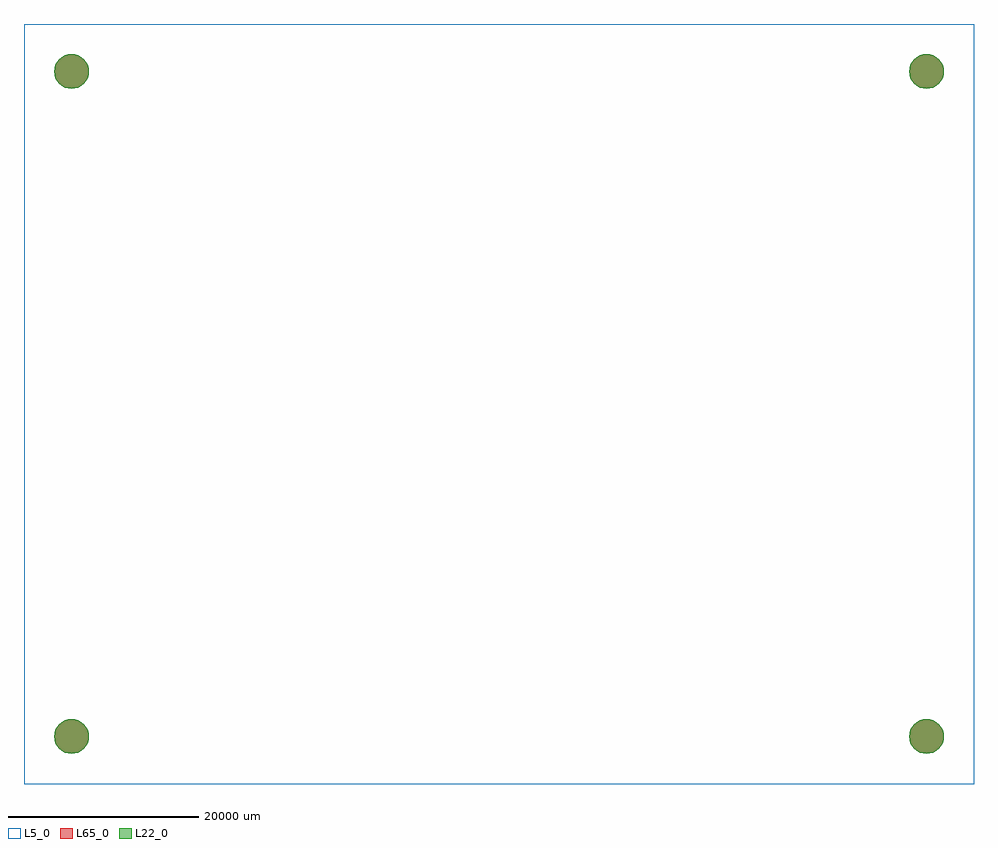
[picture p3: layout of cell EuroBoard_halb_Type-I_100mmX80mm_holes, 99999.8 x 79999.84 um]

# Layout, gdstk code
import gdstk
lib = gdstk.Library(unit=1e-6, precision=1e-09)
def R(c, l, rs):  # rectangles x0, y0, x1, y1
    for r in rs: c.add(gdstk.rectangle(r[:2], r[2:], *l))
def P(c, l, *ps):  # polygons
    for p in ps: c.add(gdstk.Polygon(p, *l))
L5_0 = (5, 0)
L22_0 = (22, 0)
L65_0 = (65, 0)

euroboard_halb_type_i_10 = lib.new_cell('EuroBoard_halb_Type-I_100mmX80mm_holes')
R(euroboard_halb_type_i_10, L5_0, [(0,0,99999.8,79999.84)])
P(euroboard_halb_type_i_10, L22_0, [(96826.14,5001.26),(96791.072,5357.312),(96687.216,5699.68),(96518.562,6015.209),(96291.592,6291.772),(96015.029,6518.742),(95699.5,6687.396),(95357.132,6791.252),(95001.08,6826.32),(94645.028,6791.252),(94302.66,6687.396),(93987.131,6518.742),(93710.568,6291.772),(93483.598,6015.209),(93314.944,5699.68),(93211.088,5357.312),(93176.02,5001.26),(93211.088,4645.208),(93314.944,4302.84),(93483.598,3987.311),(93710.568,3710.748),(93987.131,3483.778),(94302.66,3315.124),(94645.028,3211.268),(95001.08,3176.2),(95357.132,3211.268),(95699.5,3315.124),(96015.029,3483.778),(96291.592,3710.748),(96518.562,3987.311),(96687.216,4302.84),(96791.072,4645.208)],
  [(96826.14,75001.12),(96791.072,75357.172),(96687.216,75699.54),(96518.562,76015.069),(96291.592,76291.632),(96015.029,76518.602),(95699.5,76687.256),(95357.132,76791.112),(95001.08,76826.18),(94645.028,76791.112),(94302.66,76687.256),(93987.131,76518.602),(93710.568,76291.632),(93483.598,76015.069),(93314.944,75699.54),(93211.088,75357.172),(93176.02,75001.12),(93211.088,74645.068),(93314.944,74302.7),(93483.598,73987.171),(93710.568,73710.608),(93987.131,73483.638),(94302.66,73314.984),(94645.028,73211.128),(95001.08,73176.06),(95357.132,73211.128),(95699.5,73314.984),(96015.029,73483.638),(96291.592,73710.608),(96518.562,73987.171),(96687.216,74302.7),(96791.072,74645.068)],
  [(6826.32,75001.12),(6791.252,75357.172),(6687.396,75699.54),(6518.742,76015.069),(6291.772,76291.632),(6015.209,76518.602),(5699.68,76687.256),(5357.312,76791.112),(5001.26,76826.18),(4645.208,76791.112),(4302.84,76687.256),(3987.311,76518.602),(3710.748,76291.632),(3483.778,76015.069),(3315.124,75699.54),(3211.268,75357.172),(3176.2,75001.12),(3211.268,74645.068),(3315.124,74302.7),(3483.778,73987.171),(3710.748,73710.608),(3987.311,73483.638),(4302.84,73314.984),(4645.208,73211.128),(5001.26,73176.06),(5357.312,73211.128),(5699.68,73314.984),(6015.209,73483.638),(6291.772,73710.608),(6518.742,73987.171),(6687.396,74302.7),(6791.252,74645.068)],
  [(6826.32,5001.26),(6791.252,5357.312),(6687.396,5699.68),(6518.742,6015.209),(6291.772,6291.772),(6015.209,6518.742),(5699.68,6687.396),(5357.312,6791.252),(5001.26,6826.32),(4645.208,6791.252),(4302.84,6687.396),(3987.311,6518.742),(3710.748,6291.772),(3483.778,6015.209),(3315.124,5699.68),(3211.268,5357.312),(3176.2,5001.26),(3211.268,4645.208),(3315.124,4302.84),(3483.778,3987.311),(3710.748,3710.748),(3987.311,3483.778),(4302.84,3315.124),(4645.208,3211.268),(5001.26,3176.2),(5357.312,3211.268),(5699.68,3315.124),(6015.209,3483.778),(6291.772,3710.748),(6518.742,3987.311),(6687.396,4302.84),(6791.252,4645.208)])
P(euroboard_halb_type_i_10, L65_0, [(96826.14,5001.26),(96791.072,5357.312),(96687.216,5699.68),(96518.562,6015.209),(96291.592,6291.772),(96015.029,6518.742),(95699.5,6687.396),(95357.132,6791.252),(95001.08,6826.32),(94645.028,6791.252),(94302.66,6687.396),(93987.131,6518.742),(93710.568,6291.772),(93483.598,6015.209),(93314.944,5699.68),(93211.088,5357.312),(93176.02,5001.26),(93211.088,4645.208),(93314.944,4302.84),(93483.598,3987.311),(93710.568,3710.748),(93987.131,3483.778),(94302.66,3315.124),(94645.028,3211.268),(95001.08,3176.2),(95357.132,3211.268),(95699.5,3315.124),(96015.029,3483.778),(96291.592,3710.748),(96518.562,3987.311),(96687.216,4302.84),(96791.072,4645.208)],
  [(96826.14,75001.12),(96791.072,75357.172),(96687.216,75699.54),(96518.562,76015.069),(96291.592,76291.632),(96015.029,76518.602),(95699.5,76687.256),(95357.132,76791.112),(95001.08,76826.18),(94645.028,76791.112),(94302.66,76687.256),(93987.131,76518.602),(93710.568,76291.632),(93483.598,76015.069),(93314.944,75699.54),(93211.088,75357.172),(93176.02,75001.12),(93211.088,74645.068),(93314.944,74302.7),(93483.598,73987.171),(93710.568,73710.608),(93987.131,73483.638),(94302.66,73314.984),(94645.028,73211.128),(95001.08,73176.06),(95357.132,73211.128),(95699.5,73314.984),(96015.029,73483.638),(96291.592,73710.608),(96518.562,73987.171),(96687.216,74302.7),(96791.072,74645.068)],
  [(6826.32,75001.12),(6791.252,75357.172),(6687.396,75699.54),(6518.742,76015.069),(6291.772,76291.632),(6015.209,76518.602),(5699.68,76687.256),(5357.312,76791.112),(5001.26,76826.18),(4645.208,76791.112),(4302.84,76687.256),(3987.311,76518.602),(3710.748,76291.632),(3483.778,76015.069),(3315.124,75699.54),(3211.268,75357.172),(3176.2,75001.12),(3211.268,74645.068),(3315.124,74302.7),(3483.778,73987.171),(3710.748,73710.608),(3987.311,73483.638),(4302.84,73314.984),(4645.208,73211.128),(5001.26,73176.06),(5357.312,73211.128),(5699.68,73314.984),(6015.209,73483.638),(6291.772,73710.608),(6518.742,73987.171),(6687.396,74302.7),(6791.252,74645.068)],
  [(6826.32,5001.26),(6791.252,5357.312),(6687.396,5699.68),(6518.742,6015.209),(6291.772,6291.772),(6015.209,6518.742),(5699.68,6687.396),(5357.312,6791.252),(5001.26,6826.32),(4645.208,6791.252),(4302.84,6687.396),(3987.311,6518.742),(3710.748,6291.772),(3483.778,6015.209),(3315.124,5699.68),(3211.268,5357.312),(3176.2,5001.26),(3211.268,4645.208),(3315.124,4302.84),(3483.778,3987.311),(3710.748,3710.748),(3987.311,3483.778),(4302.84,3315.124),(4645.208,3211.268),(5001.26,3176.2),(5357.312,3211.268),(5699.68,3315.124),(6015.209,3483.778),(6291.772,3710.748),(6518.742,3987.311),(6687.396,4302.84),(6791.252,4645.208)])
euroboard_halb_type_i_10.add(gdstk.Label('type', (53340,-7620), layer=9, texttype=0))
euroboard_halb_type_i_10.add(gdstk.Label('devicename', (54610,86360), layer=9, texttype=0))

lib.write_gds('EuroBoard_halb_Type-I_100mmX80mm_holes.gds')
